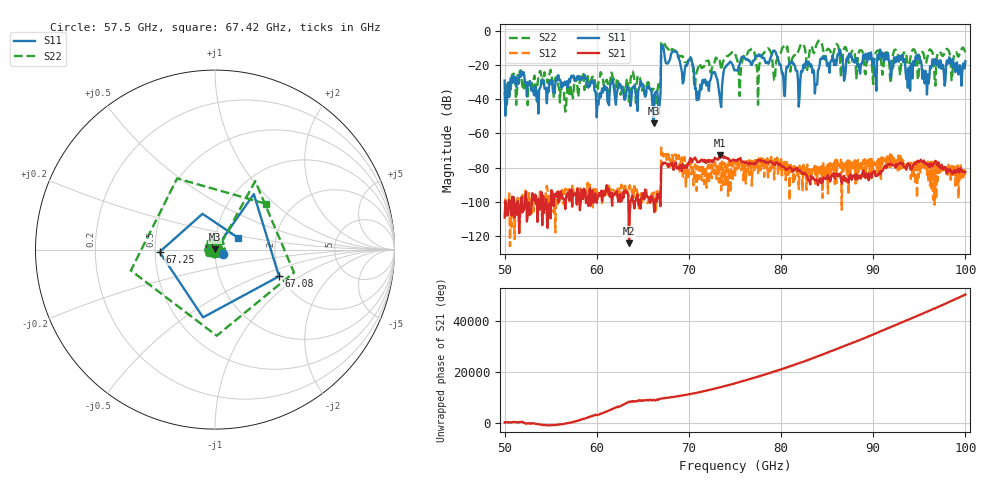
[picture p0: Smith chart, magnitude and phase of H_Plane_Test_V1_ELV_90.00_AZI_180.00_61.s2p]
! 11/27/2026 8:42:29 AM
! C:\ANRITSUVNA\TEMP\TEMP.S2P
! CHANNEL.1
! TR.MEASUREMENT
! RAW.DATA
# HZ S RI R 50.0
! FREQ.HZ  S11RE  S11IM  S21RE  S21IM  S12RE  S12IM  S22RE  S22IM
!; PortSelection: Port_12
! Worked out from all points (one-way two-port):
!   601 points, 50 GHz to 100 GHz, reference 50 ohm
!   highest |S21| = -72.75 dB at 73.33 GHz (marker M1); lowest = -124.4 dB at 63.5 GHz (marker M2)
!   lowest |S11| = -54.1 dB at 66.17 GHz (marker M3), VSWR 1.00, Z = 50.1 + j0.142 ohm
!   |S11| at or under -10 dB: start of sweep to 67 GHz; 67.24 GHz to end of sweep
!   |S22| runs from -47.3 to -5.6 dB; largest |S21 - S12| = 0.00044
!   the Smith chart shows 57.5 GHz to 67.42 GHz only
!   S11 on the Smith chart (normalised r, x): 57.5 GHz: 1.09, -0.05; 67.08 GHz: 1.95, -0.68; 67.25 GHz: 0.53, -0.02; 67.42 GHz: 1.29, +0.17
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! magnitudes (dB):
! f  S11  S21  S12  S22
! 50 GHz  -29.1  -109.3  -98.9  -35.9
! 51.67 GHz  -26.3  -103.4  -112.6  -23.3
! 53.42 GHz  -34.9  -101.4  -96.7  -35.8
! 57.5 GHz  -26.2  -96.3  -92.6  -34.6
! 58.42 GHz  -27.1  -95.5  -96.8  -24.6
! 60.17 GHz  -43.2  -96.5  -93.4  -30.2
! 63.5 GHz  -34.7  -124.4  -92.0  -41.5
! 66.17 GHz  -54.1  -100.5  -94.6  -33.9
! 66.67 GHz  -41.8  -97.6  -94.1  -31.6
! 67.08 GHz  -8.3  -78.5  -69.7  -6.8
! 67.25 GHz  -10.2  -77.9  -73.5  -6.3
! 67.42 GHz  -16.7  -77.2  -70.5  -8.4
! 70.17 GHz  -15.4  -74.5  -78.6  -18.5
! 70.67 GHz  -34.0  -74.1  -78.2  -33.0
! 73.33 GHz  -37.9  -72.7  -76.6  -17.4
! 75 GHz  -23.1  -76.1  -85.9  -13.0
! 79.25 GHz  -11.4  -78.0  -87.0  -28.9
! 80.25 GHz  -28.0  -79.6  -78.1  -9.3
! 83.42 GHz  -24.6  -85.5  -79.7  -10.9
! 91.67 GHz  -16.8  -77.9  -72.3  -15.3
! 95.83 GHz  -37.2  -78.3  -84.2  -16.5
! 100 GHz  -17.7  -82.5  -82.7  -12.6
